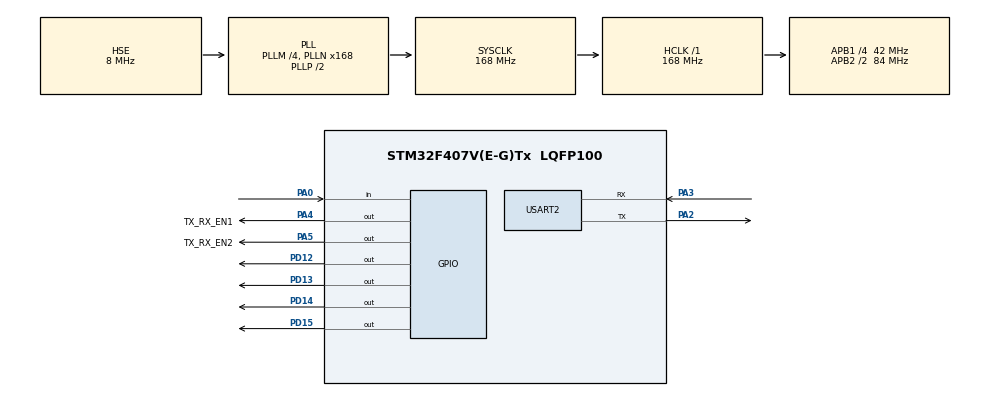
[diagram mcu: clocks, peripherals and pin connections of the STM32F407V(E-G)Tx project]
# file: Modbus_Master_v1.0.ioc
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Mcu.Family=STM32F4
Mcu.Name=STM32F407V(E-G)Tx
Mcu.Package=LQFP100
NVIC.PriorityGroup=NVIC_PRIORITYGROUP_4
NVIC.TIM2_IRQn=true\:0\:0\:false\:false\:true\:true\:true\:true
NVIC.USART2_IRQn=true\:0\:0\:false\:false\:true\:true\:true\:true
PA0-WKUP.Signal=GPIO_Input
PA2.Mode=Asynchronous
PA2.Signal=USART2_TX
PA3.Mode=Asynchronous
PA3.Signal=USART2_RX
PA4.GPIO_Label=TX_RX_EN1
PA4.Signal=GPIO_Output
PA5.GPIO_Label=TX_RX_EN2
PA5.Signal=GPIO_Output
PD12.Signal=GPIO_Output
PD13.Signal=GPIO_Output
PD14.Signal=GPIO_Output
PD15.Signal=GPIO_Output
PH0-OSC_IN.Mode=HSE-External-Oscillator
PH0-OSC_IN.Signal=RCC_OSC_IN
PH1-OSC_OUT.Mode=HSE-External-Oscillator
PH1-OSC_OUT.Signal=RCC_OSC_OUT
ProjectManager.HeapSize=0x200
ProjectManager.StackSize=0x400
ProjectManager.TargetToolchain=STM32CubeIDE
RCC.48MHZClocksFreq_Value=84000000
RCC.AHBFreq_Value=168000000
RCC.APB1CLKDivider=RCC_HCLK_DIV4
RCC.APB1Freq_Value=42000000
RCC.APB1TimFreq_Value=84000000
RCC.APB2CLKDivider=RCC_HCLK_DIV2
RCC.APB2Freq_Value=84000000
RCC.APB2TimFreq_Value=168000000
RCC.CortexFreq_Value=168000000
RCC.HCLKFreq_Value=168000000
RCC.HSE_VALUE=8000000
RCC.HSI_VALUE=16000000
RCC.LSE_VALUE=32768
RCC.PLLM=4
RCC.PLLN=168
RCC.PLLSourceVirtual=RCC_PLLSOURCE_HSE
RCC.SYSCLKFreq_VALUE=168000000
RCC.SYSCLKSource=RCC_SYSCLKSOURCE_PLLCLK
RCC.VCOOutputFreq_Value=336000000
TIM2.Period=999
TIM2.Prescaler=83
USART2.VirtualMode=VM_ASYNC
VP_TIM2_VS_ClockSourceINT.Mode=Internal
board=custom

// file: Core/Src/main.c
/* USER CODE BEGIN Header */
/**
  ******************************************************************************
  * @file           : main.c
  * @brief          : Main program body
  ******************************************************************************
  * @attention
  *
  * Copyright (c) 2023 STMicroelectronics.
  * All rights reserved.
  *
  * This software is licensed under terms that can be found in the LICENSE file
  * in the root directory of this software component.
  * If no LICENSE file comes with this software, it is provided AS-IS.
  *
  ******************************************************************************
  */
/* USER CODE END Header */
#include "main.h"

/* USER CODE BEGIN Includes */
#include "uart_qrbcom.h"
#include "timer_ex.h"
#include "modbus_ex.h"
#include "modbus_crc16.h"
/* USER CODE END Includes */

TIM_HandleTypeDef htim2;

UART_HandleTypeDef huart2;

/* USER CODE BEGIN PV */

Tick_Time_t message1sTime;

Modbus_t modbus;

/* USER CODE END PV */

void SystemClock_Config(void);
static void MX_GPIO_Init(void);
static void MX_TIM2_Init(void);
static void MX_USART2_UART_Init(void);

int main(void)
{

  /* MCU Configuration--------------------------------------------------------*/

  /* Reset of all peripherals, Initializes the Flash interface and the Systick. */
  HAL_Init();

  /* Configure the system clock */
  SystemClock_Config();

  /* Initialize all configured peripherals */
  MX_GPIO_Init();
  MX_TIM2_Init();
  MX_USART2_UART_Init();
  /* USER CODE BEGIN 2 */
  UARTx_Cell_Comm_Initialization();

  HAL_TIM_Base_Start_IT(&htim2);
  Tick_Timer_Initialization(&message1sTime, 1000);		// 1 sn

  modbus.state = Idle;
  modbus.mode  = RTU;

  /* USER CODE END 2 */

  /* Infinite loop */
  while (1)
  {

    /* USER CODE BEGIN 3 */

	  if(Tick_Timer_Check_Elapsed_Time(&message1sTime))
	  {
		  Tick_Timer_Set_Time(&message1sTime, 1000);
	  }

	  if(HAL_GPIO_ReadPin(GPIOA, GPIO_PIN_0))
	  {
		  HAL_Delay(500);
		  Modbus_Read_Input_Registers(&modbus, 5, 0, 5);
	  }

	  Modbus_Master_Control(&modbus);
  }
  /* USER CODE END 3 */
}

void SystemClock_Config(void)
{
  RCC_OscInitTypeDef RCC_OscInitStruct = {0};
  RCC_ClkInitTypeDef RCC_ClkInitStruct = {0};

  /** Configure the main internal regulator output voltage
  */
  __HAL_RCC_PWR_CLK_ENABLE();
  __HAL_PWR_VOLTAGESCALING_CONFIG(PWR_REGULATOR_VOLTAGE_SCALE1);

  /** Initializes the RCC Oscillators according to the specified parameters
  * in the RCC_OscInitTypeDef structure.
  */
  RCC_OscInitStruct.OscillatorType = RCC_OSCILLATORTYPE_HSE;
  RCC_OscInitStruct.HSEState = RCC_HSE_ON;
  RCC_OscInitStruct.PLL.PLLState = RCC_PLL_ON;
  RCC_OscInitStruct.PLL.PLLSource = RCC_PLLSOURCE_HSE;
  RCC_OscInitStruct.PLL.PLLM = 4;
  RCC_OscInitStruct.PLL.PLLN = 168;
  RCC_OscInitStruct.PLL.PLLP = RCC_PLLP_DIV2;
  RCC_OscInitStruct.PLL.PLLQ = 4;
  if (HAL_RCC_OscConfig(&RCC_OscInitStruct) != HAL_OK)
  {
    Error_Handler();
  }

  /** Initializes the CPU, AHB and APB buses clocks
  */
  RCC_ClkInitStruct.ClockType = RCC_CLOCKTYPE_HCLK|RCC_CLOCKTYPE_SYSCLK
                              |RCC_CLOCKTYPE_PCLK1|RCC_CLOCKTYPE_PCLK2;
  RCC_ClkInitStruct.SYSCLKSource = RCC_SYSCLKSOURCE_PLLCLK;
  RCC_ClkInitStruct.AHBCLKDivider = RCC_SYSCLK_DIV1;
  RCC_ClkInitStruct.APB1CLKDivider = RCC_HCLK_DIV4;
  RCC_ClkInitStruct.APB2CLKDivider = RCC_HCLK_DIV2;

  if (HAL_RCC_ClockConfig(&RCC_ClkInitStruct, FLASH_LATENCY_5) != HAL_OK)
  {
    Error_Handler();
  }
}

static void MX_TIM2_Init(void)
{

  TIM_ClockConfigTypeDef sClockSourceConfig = {0};
  TIM_MasterConfigTypeDef sMasterConfig = {0};

  htim2.Instance = TIM2;
  htim2.Init.Prescaler = 83;
  htim2.Init.CounterMode = TIM_COUNTERMODE_UP;
  htim2.Init.Period = 999;
  htim2.Init.ClockDivision = TIM_CLOCKDIVISION_DIV1;
  htim2.Init.AutoReloadPreload = TIM_AUTORELOAD_PRELOAD_DISABLE;
  if (HAL_TIM_Base_Init(&htim2) != HAL_OK)
  {
    Error_Handler();
  }
  sClockSourceConfig.ClockSource = TIM_CLOCKSOURCE_INTERNAL;
  if (HAL_TIM_ConfigClockSource(&htim2, &sClockSourceConfig) != HAL_OK)
  {
    Error_Handler();
  }
  sMasterConfig.MasterOutputTrigger = TIM_TRGO_RESET;
  sMasterConfig.MasterSlaveMode = TIM_MASTERSLAVEMODE_DISABLE;
  if (HAL_TIMEx_MasterConfigSynchronization(&htim2, &sMasterConfig) != HAL_OK)
  {
    Error_Handler();
  }

}

static void MX_USART2_UART_Init(void)
{

  huart2.Instance = USART2;
  huart2.Init.BaudRate = 115200;
  huart2.Init.WordLength = UART_WORDLENGTH_8B;
  huart2.Init.StopBits = UART_STOPBITS_1;
  huart2.Init.Parity = UART_PARITY_NONE;
  huart2.Init.Mode = UART_MODE_TX_RX;
  huart2.Init.HwFlowCtl = UART_HWCONTROL_NONE;
  huart2.Init.OverSampling = UART_OVERSAMPLING_16;
  if (HAL_UART_Init(&huart2) != HAL_OK)
  {
    Error_Handler();
  }

}

static void MX_GPIO_Init(void)
{
  GPIO_InitTypeDef GPIO_InitStruct = {0};

  /* GPIO Ports Clock Enable */
  __HAL_RCC_GPIOH_CLK_ENABLE();
  __HAL_RCC_GPIOA_CLK_ENABLE();
  __HAL_RCC_GPIOD_CLK_ENABLE();

  /*Configure GPIO pin Output Level */
  HAL_GPIO_WritePin(GPIOA, TX_RX_EN1_Pin|TX_RX_EN2_Pin, GPIO_PIN_RESET);

  /*Configure GPIO pin Output Level */
  HAL_GPIO_WritePin(GPIOD, GPIO_PIN_12|GPIO_PIN_13|GPIO_PIN_14|GPIO_PIN_15, GPIO_PIN_RESET);

  /*Configure GPIO pin : PA0 */
  GPIO_InitStruct.Pin = GPIO_PIN_0;
  GPIO_InitStruct.Mode = GPIO_MODE_INPUT;
  GPIO_InitStruct.Pull = GPIO_NOPULL;
  HAL_GPIO_Init(GPIOA, &GPIO_InitStruct);

  /*Configure GPIO pins : TX_RX_EN1_Pin TX_RX_EN2_Pin */
  GPIO_InitStruct.Pin = TX_RX_EN1_Pin|TX_RX_EN2_Pin;
  GPIO_InitStruct.Mode = GPIO_MODE_OUTPUT_PP;
  GPIO_InitStruct.Pull = GPIO_NOPULL;
  GPIO_InitStruct.Speed = GPIO_SPEED_FREQ_LOW;
  HAL_GPIO_Init(GPIOA, &GPIO_InitStruct);

  /*Configure GPIO pins : PD12 PD13 PD14 PD15 */
  GPIO_InitStruct.Pin = GPIO_PIN_12|GPIO_PIN_13|GPIO_PIN_14|GPIO_PIN_15;
  GPIO_InitStruct.Mode = GPIO_MODE_OUTPUT_PP;
  GPIO_InitStruct.Pull = GPIO_NOPULL;
  GPIO_InitStruct.Speed = GPIO_SPEED_FREQ_LOW;
  HAL_GPIO_Init(GPIOD, &GPIO_InitStruct);

}

void Error_Handler(void)
{
  __disable_irq();
  while (1)
  {
  }
}
